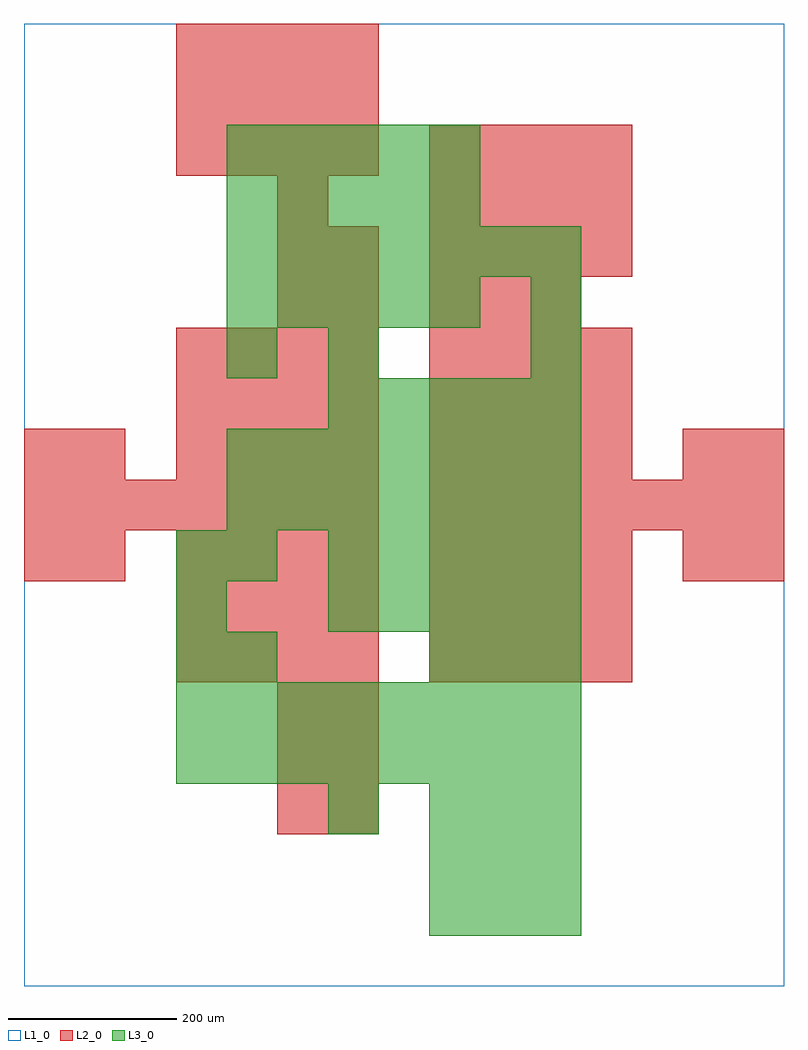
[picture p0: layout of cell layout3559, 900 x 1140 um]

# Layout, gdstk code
import gdstk
lib = gdstk.Library(unit=1e-6, precision=1e-09)
def R(c, l, rs):  # rectangles x0, y0, x1, y1
    for r in rs: c.add(gdstk.rectangle(r[:2], r[2:], *l))
def A(c, l, x, y, w, h, nx, ny, dx, dy):  # array of equal rectangles
    R(c, l, [(x+i*dx, y+j*dy, x+i*dx+w, y+j*dy+h) for i in range(nx) for j in range(ny)])
L1_0 = (1, 0)
L2_0 = (2, 0)
L3_0 = (3, 0)

layout3559 = lib.new_cell('layout3559')
R(layout3559, L1_0, [(0,0,900,1140)])
A(layout3559, L2_0, 300, 180, 60, 60, 1, 3, 0, 60)
A(layout3559, L2_0, 360, 180, 60, 60, 1, 3, 0, 60)
A(layout3559, L2_0, 180, 360, 60, 60, 4, 3, 60, 60)
A(layout3559, L2_0, 480, 360, 60, 60, 4, 3, 60, 60)
A(layout3559, L2_0, 0, 540, 60, 60, 7, 1, 60, 0)
A(layout3559, L2_0, 480, 540, 60, 60, 7, 1, 60, 0)
A(layout3559, L2_0, 180, 600, 60, 60, 4, 3, 60, 60)
A(layout3559, L2_0, 480, 600, 60, 60, 4, 3, 60, 60)
A(layout3559, L2_0, 300, 780, 60, 60, 1, 3, 0, 60)
A(layout3559, L2_0, 480, 780, 60, 60, 3, 1, 60, 0)
A(layout3559, L2_0, 480, 840, 60, 60, 4, 3, 60, 60)
A(layout3559, L2_0, 180, 960, 60, 60, 4, 3, 60, 60)
R(layout3559, L2_0, [(0,480,60,540), (60,480,120,540), (780,480,840,540), (840,480,900,540), (0,600,60,660), (60,600,120,660), (780,600,840,660), (840,600,900,660), (360,780,420,840), (360,840,420,900)])
A(layout3559, L3_0, 480, 60, 60, 60, 3, 3, 60, 60)
A(layout3559, L3_0, 180, 240, 60, 60, 8, 2, 60, 60)
A(layout3559, L3_0, 180, 360, 60, 60, 1, 3, 0, 60)
A(layout3559, L3_0, 480, 360, 60, 60, 3, 1, 60, 0)
A(layout3559, L3_0, 360, 420, 60, 60, 5, 2, 60, 60)
A(layout3559, L3_0, 240, 540, 60, 60, 7, 2, 60, 60)
A(layout3559, L3_0, 360, 660, 60, 60, 5, 1, 60, 0)
A(layout3559, L3_0, 240, 780, 60, 60, 5, 2, 60, 120)
A(layout3559, L3_0, 240, 840, 60, 60, 7, 1, 60, 0)
A(layout3559, L3_0, 240, 960, 60, 60, 5, 1, 60, 0)
R(layout3559, L3_0, [(360,180,420,240), (240,360,300,420), (240,480,300,540), (240,720,300,780), (360,720,420,780), (600,720,660,780), (600,780,660,840)])

lib.write_gds('layout3559.gds')
